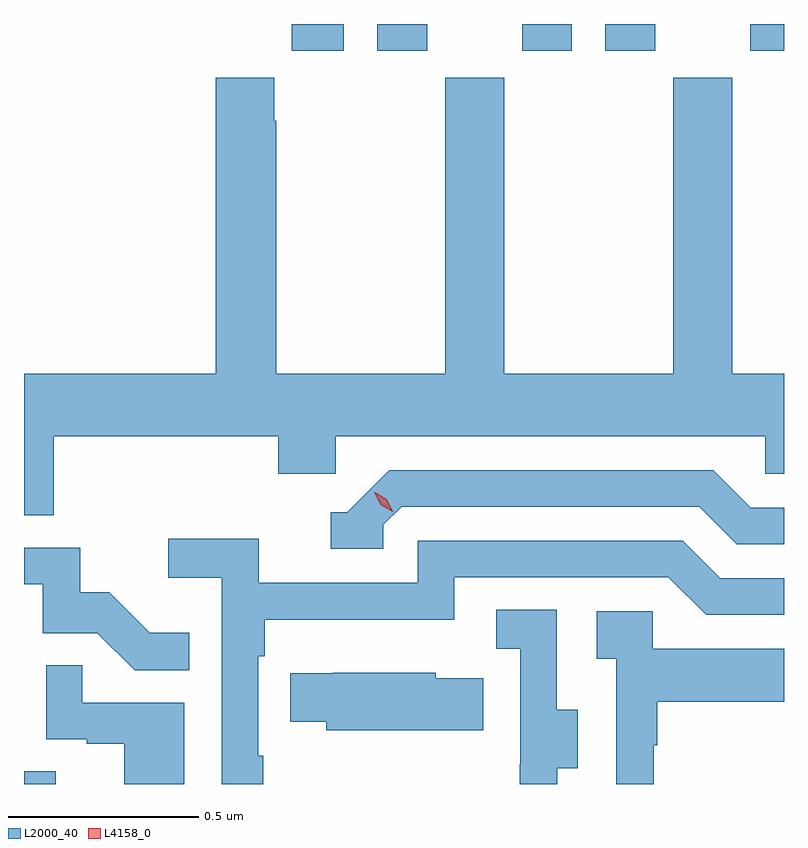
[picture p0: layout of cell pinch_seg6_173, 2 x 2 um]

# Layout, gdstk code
import gdstk
lib = gdstk.Library(unit=1e-6, precision=1e-09)
def R(c, l, rs):  # rectangles x0, y0, x1, y1
    for r in rs: c.add(gdstk.rectangle(r[:2], r[2:], *l))
def P(c, l, *ps):  # polygons
    for p in ps: c.add(gdstk.Polygon(p, *l))
L2000_40 = (2000, 40)
L4158_0 = (4158, 0)

pinch_seg6_173 = lib.new_cell('pinch_seg6_173')
R(pinch_seg6_173, L2000_40, [(1069.952,931.769,1070.035,931.802), (1070.657,933.699,1070.794,933.769), (1070.882,933.699,1071.013,933.769), (1071.263,933.699,1071.394,933.769), (1071.482,933.699,1071.613,933.769), (1071.863,933.699,1071.952,933.769)])
P(pinch_seg6_173, L2000_40, [(1070.03,932.684),(1070.621,932.684),(1070.621,932.586),(1070.772,932.586),(1070.772,932.684),(1071.903,932.684),(1071.903,932.586),(1071.952,932.586),(1071.952,932.848),(1071.816,932.848),(1071.816,933.628),(1071.661,933.628),(1071.661,932.848),(1071.216,932.848),(1071.216,933.628),(1071.061,933.628),(1071.061,932.848),(1070.616,932.848),(1070.616,933.515),(1070.611,933.515),(1070.611,933.628),(1070.456,933.628),(1070.456,932.848),(1069.952,932.848),(1069.952,932.476),(1070.03,932.476)],
  [(1070.898,932.451),(1070.946,932.499),(1071.729,932.499),(1071.828,932.4),(1071.952,932.4),(1071.952,932.496),(1071.865,932.496),(1071.766,932.595),(1070.913,932.595),(1070.802,932.484),(1070.759,932.484),(1070.759,932.388),(1070.898,932.388)],
  [(1070.581,931.844),(1070.568,931.844),(1070.568,932.105),(1070.585,932.105),(1070.585,932.201),(1071.084,932.201),(1071.084,932.313),(1071.648,932.313),(1071.747,932.214),(1071.952,932.214),(1071.952,932.31),(1071.784,932.31),(1071.685,932.409),(1070.988,932.409),(1070.988,932.298),(1070.57,932.298),(1070.57,932.414),(1070.331,932.414),(1070.331,932.312),(1070.472,932.312),(1070.472,931.769),(1070.581,931.769)],
  [(1070.387,932.167),(1070.283,932.167),(1070.176,932.274),(1070.1,932.274),(1070.1,932.391),(1069.952,932.391),(1069.952,932.295),(1070.001,932.295),(1070.001,932.166),(1070.145,932.166),(1070.243,932.068),(1070.387,932.068)],
  [(1071.355,931.81),(1071.409,931.81),(1071.409,931.965),(1071.354,931.965),(1071.354,932.228),(1071.195,932.228),(1071.195,932.125),(1071.258,932.125),(1071.258,931.821),(1071.257,931.821),(1071.257,931.769),(1071.355,931.769)],
  [(1071.609,931.871),(1071.619,931.871),(1071.619,931.985),(1071.952,931.985),(1071.952,932.125),(1071.606,932.125),(1071.606,932.223),(1071.459,932.223),(1071.459,932.099),(1071.51,932.099),(1071.51,931.769),(1071.609,931.769)],
  [(1070.374,931.983),(1070.105,931.983),(1070.105,932.081),(1070.01,932.081),(1070.01,931.887),(1070.117,931.887),(1070.117,931.875),(1070.216,931.875),(1070.216,931.769),(1070.374,931.769)],
  [(1071.161,932.047),(1071.036,932.047),(1071.036,932.062),(1070.764,932.062),(1070.764,932.061),(1070.653,932.061),(1070.653,931.933),(1070.747,931.933),(1070.747,931.91),(1071.161,931.91)])
P(pinch_seg6_173, L4158_0, [(1070.922,932.485),(1070.891,932.504),(1070.874,932.537),(1070.874,932.537),(1070.875,932.537),(1070.906,932.518),(1070.922,932.485),(1070.922,932.485)])

lib.write_gds('pinch_seg6_173.gds')
